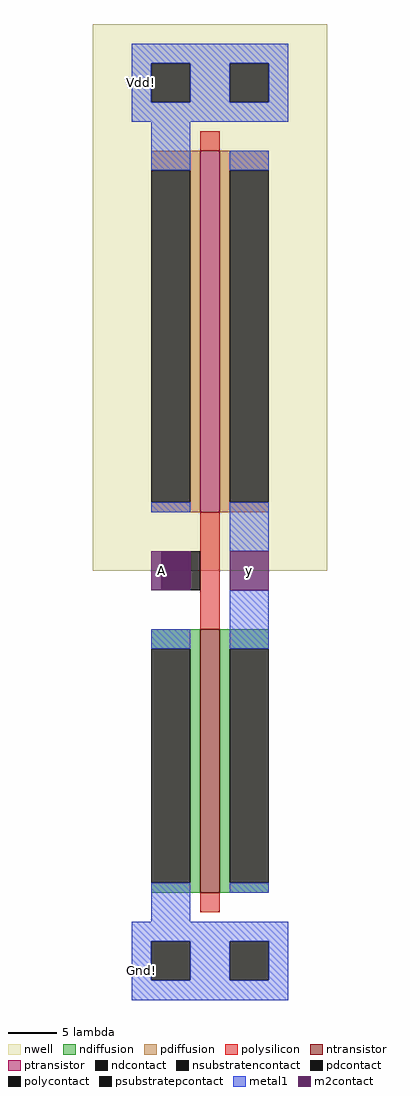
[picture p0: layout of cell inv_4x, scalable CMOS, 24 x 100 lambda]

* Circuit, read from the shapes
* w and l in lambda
.subckt inv_4x A Gnd! Vdd! y
M1 y A Gnd! Gnd! nfet w=27 l=2
M2 y A Vdd! Vdd! pfet w=37 l=2
.ends

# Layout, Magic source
magic
tech scmos
<< nwell >>
rect -6 40 18 96
<< ntransistor >>
rect 5 7 7 34
<< ptransistor >>
rect 5 46 7 83
<< ndiffusion >>
rect 0 32 5 34
rect 4 8 5 32
rect 0 7 5 8
rect 7 32 12 34
rect 7 8 8 32
rect 7 7 12 8
<< pdiffusion >>
rect 0 81 5 83
rect 4 47 5 81
rect 0 46 5 47
rect 7 81 12 83
rect 7 47 8 81
rect 7 46 12 47
<< ndcontact >>
rect 0 8 4 32
rect 8 8 12 32
<< pdcontact >>
rect 0 47 4 81
rect 8 47 12 81
<< psubstratepcontact >>
rect 0 -2 4 2
rect 8 -2 12 2
<< nsubstratencontact >>
rect 0 88 4 92
rect 8 88 12 92
<< polysilicon >>
rect 5 83 7 85
rect 5 34 7 46
rect 5 5 7 7
<< polycontact >>
rect 1 38 5 42
<< metal1 >>
rect -2 92 14 94
rect -2 88 0 92
rect 4 88 8 92
rect 12 88 14 92
rect -2 86 14 88
rect 0 81 4 86
rect 0 46 4 47
rect 8 81 12 83
rect 8 42 12 47
rect 0 32 4 34
rect 0 4 4 8
rect 8 32 12 38
rect 8 7 12 8
rect -2 2 14 4
rect -2 -2 0 2
rect 4 -2 8 2
rect 12 -2 14 2
rect -2 -4 14 -2
<< m2contact >>
rect 0 38 1 42
rect 1 38 4 42
rect 8 38 12 42
<< labels >>
rlabel metal1 -1 90 -1 90 3 Vdd!
rlabel metal1 -1 -1 -1 -1 2 Gnd!
rlabel m2contact 1 40 1 40 1 A
rlabel m2contact 10 40 10 40 1 y
<< end >>
